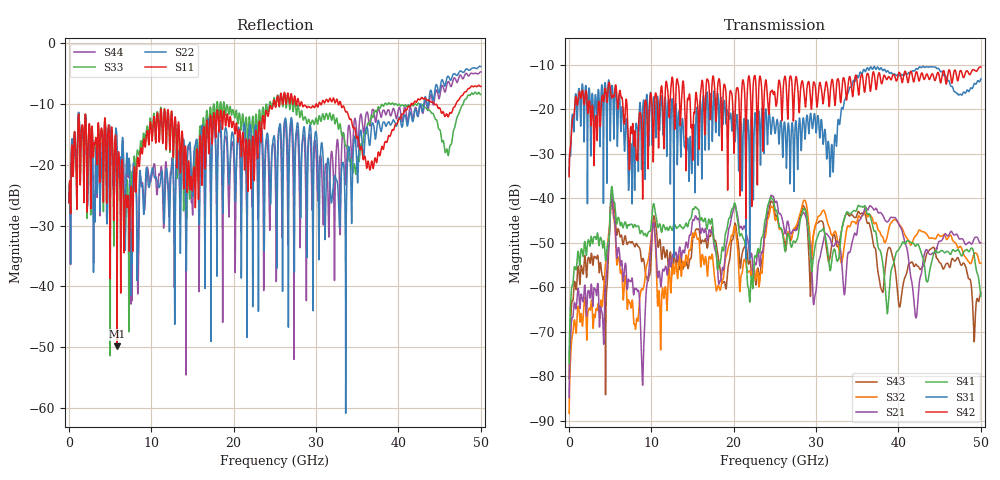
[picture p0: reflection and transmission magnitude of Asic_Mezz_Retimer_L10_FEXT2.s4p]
! Created Fri Jun 28 09:28:34 2019
# hz S ma R 50
! 4 Port Network Data from SP1.SP block
! freq  magS11  angS11  magS12  angS12  magS13  angS13  magS14  angS14
!  magS21  angS21  magS22  angS22  magS23  angS23  magS24  angS24
!  magS31  angS31  magS32  angS32  magS33  angS33  magS34  angS34
!  magS41  angS41  magS42  angS42  magS43  angS43  magS44  angS44
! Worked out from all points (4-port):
!   4996 points, 50 MHz to 50 GHz, reference 50 ohm
!   strongest paths, dB at 50 MHz, 12.54 GHz, 25.03 GHz, 37.52 GHz, 50 GHz:
!     S42: -35.1, -12.8, -17.0, -12.5, -10.5
!     S31: -34.8, -17.6, -25.5, -10.6, -13.2
!     S41: -77.1, -47.2, -42.5, -50.9, -62.0
!     S21: -84.7, -53.5, -40.9, -43.2, -50.0
!     S32: -88.3, -55.7, -44.7, -47.0, -54.5
!     S43: -80.6, -57.1, -43.6, -56.6, -61.2
!   lowest |S11| = -49.8 dB at 5.87 GHz (marker M1), VSWR 1.01, Z = 50.3 + j0.009 ohm
!   |S11| at or under -10 dB: start of sweep to 24.8 GHz; 33.02 GHz to 41.52 GHz (8.494 GHz wide, 22.8 % of centre); 44.35 GHz to 46.96 GHz (2.604 GHz wide, 5.7 % of centre)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
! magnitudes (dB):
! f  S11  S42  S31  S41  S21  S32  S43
! 50 MHz  -26.2  -35.1  -34.8  -77.1  -84.7  -88.3  -80.6
! 5.87 GHz  -49.8  -17.9  -25.8  -45.4  -53.3  -54.8  -47.9
! 8.96 GHz  -17.9  -38.7  -20.8  -47.5  -82.0  -60.6  -53.7
! 10.27 GHz  -12.9  -31.6  -17.9  -41.3  -45.3  -45.2  -44.3
! 11.01 GHz  -15.9  -20.4  -24.7  -45.7  -56.6  -61.7  -49.3
! 28.59 GHz  -10.2  -17.0  -24.4  -42.4  -43.4  -40.4  -42.0
! 50 GHz  -7.1  -10.5  -13.2  -62.0  -50.0  -54.5  -61.2
